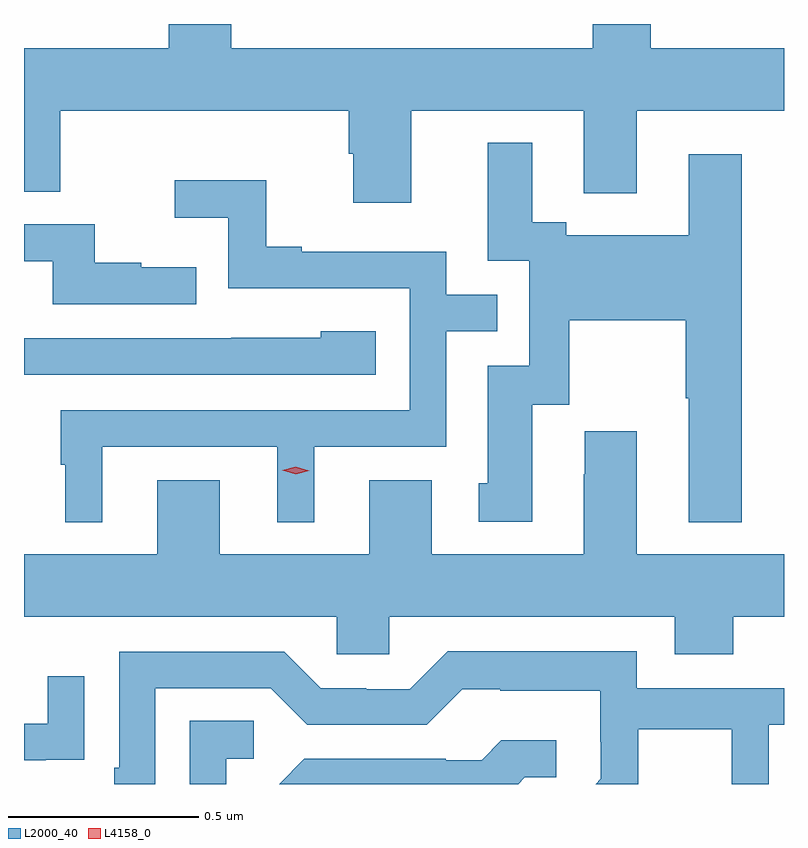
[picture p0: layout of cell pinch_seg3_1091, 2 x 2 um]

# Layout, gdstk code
import gdstk
lib = gdstk.Library(unit=1e-6, precision=1e-09)
def P(c, l, *ps):  # polygons
    for p in ps: c.add(gdstk.Polygon(p, *l))
L2000_40 = (2000, 40)
L4158_0 = (4158, 0)

pinch_seg3_1091 = lib.new_cell('pinch_seg3_1091')
P(pinch_seg3_1091, L2000_40, [(252.235,707.576),(252.689,707.576),(252.689,707.358),(252.829,707.358),(252.829,707.576),(253.216,707.576),(253.216,707.74),(252.865,707.74),(252.865,707.804),(252.713,707.804),(252.713,707.74),(251.761,707.74),(251.761,707.804),(251.597,707.804),(251.597,707.74),(251.216,707.74),(251.216,707.362),(251.311,707.362),(251.311,707.576),(252.071,707.576),(252.071,707.463),(252.083,707.463),(252.083,707.334),(252.235,707.334)],
  [(253.105,707.461),(252.965,707.461),(252.965,707.248),(252.643,707.248),(252.643,707.282),(252.553,707.282),(252.553,707.491),(252.437,707.491),(252.437,707.181),(252.546,707.181),(252.546,706.905),(252.437,706.905),(252.437,706.596),(252.413,706.596),(252.413,706.494),(252.553,706.494),(252.553,706.802),(252.651,706.802),(252.651,707.024),(252.958,707.024),(252.958,706.819),(252.965,706.819),(252.965,706.493),(253.105,706.493)],
  [(251.422,706.692),(251.882,706.692),(251.882,706.493),(251.98,706.493),(251.98,706.692),(252.327,706.692),(252.327,706.995),(252.461,706.995),(252.461,707.091),(252.327,707.091),(252.327,707.205),(251.947,707.205),(251.947,707.218),(251.853,707.218),(251.853,707.393),(251.613,707.393),(251.613,707.294),(251.754,707.294),(251.754,707.109),(252.231,707.109),(252.231,706.788),(251.313,706.788),(251.313,706.644),(251.324,706.644),(251.324,706.493),(251.422,706.493)],
  [(251.669,707.164),(251.525,707.164),(251.525,707.176),(251.402,707.176),(251.402,707.277),(251.216,707.277),(251.216,707.18),(251.292,707.18),(251.292,707.067),(251.669,707.067)],
  [(252.142,706.996),(251.997,706.996),(251.997,706.978),(251.761,706.978),(251.761,706.977),(251.216,706.977),(251.216,706.881),(252.142,706.881)],
  [(253.082,706.244),(253.216,706.244),(253.216,706.408),(252.829,706.408),(252.829,706.732),(252.692,706.732),(252.692,706.619),(252.689,706.619),(252.689,706.408),(252.289,706.408),(252.289,706.603),(252.125,706.603),(252.125,706.408),(251.731,706.408),(251.731,706.603),(251.567,706.603),(251.567,706.408),(251.216,706.408),(251.216,706.244),(252.039,706.244),(252.039,706.146),(252.177,706.146),(252.177,706.244),(252.929,706.244),(252.929,706.145),(253.082,706.145)],
  [(251.562,706.056),(251.865,706.056),(251.961,705.96),(252.276,705.96),(252.369,706.053),(252.469,706.053),(252.469,706.049),(252.732,706.049),(252.732,705.915),(252.734,705.915),(252.734,705.818),(252.72,705.804),(252.833,705.804),(252.833,705.948),(253.078,705.948),(253.078,705.804),(253.176,705.804),(253.176,705.96),(253.216,705.96),(253.216,706.056),(252.828,706.056),(252.828,706.153),(252.331,706.153),(252.231,706.053),(252.116,706.053),(252.116,706.056),(251.997,706.056),(251.901,706.152),(251.466,706.152),(251.466,705.847),(251.453,705.847),(251.453,705.804),(251.562,705.804)],
  [(251.273,705.868),(251.375,705.868),(251.375,706.087),(251.279,706.087),(251.279,705.963),(251.216,705.963),(251.216,705.867),(251.273,705.867)],
  [(251.748,705.87),(251.821,705.87),(251.821,705.971),(251.652,705.971),(251.652,705.804),(251.748,705.804)],
  [(252.534,705.822),(252.616,705.822),(252.616,705.919),(252.472,705.919),(252.42,705.867),(252.326,705.867),(252.326,705.87),(251.954,705.87),(251.888,705.804),(252.516,705.804)])
P(pinch_seg3_1091, L4158_0, [(251.931,706.619),(251.895,706.63),(251.895,706.63),(251.895,706.63),(251.931,706.639),(251.967,706.628),(251.967,706.628),(251.967,706.628)])

lib.write_gds('pinch_seg3_1091.gds')
